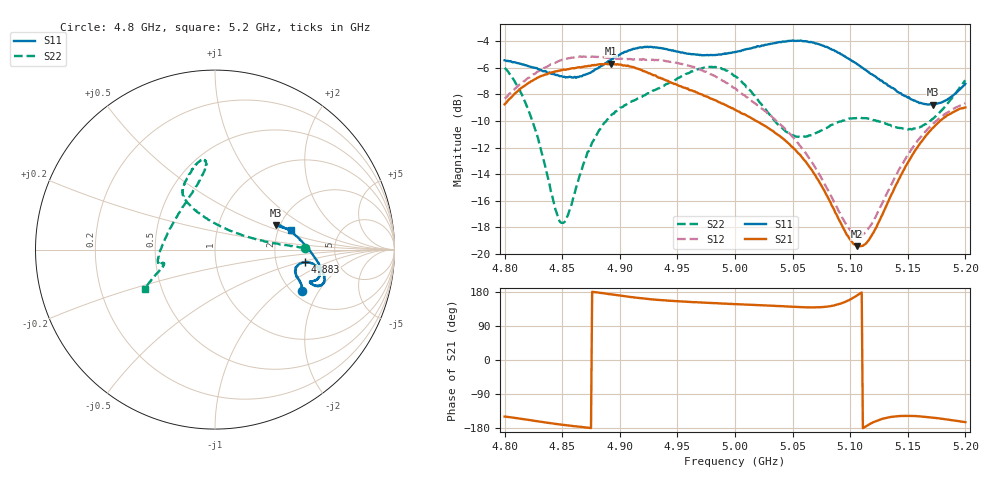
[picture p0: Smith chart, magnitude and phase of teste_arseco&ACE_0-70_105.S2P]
! Network Analyzer HP8722D
! Hewlett-Packard
! Data name: Linha & Wilkinson
! Saver's name: Rodrigo Anjos
! Comments: Teste da utilização de aquisição
! continua pelo VNA HP8722D
! Time and date: 8/5/2025 13:38
!  Frequency  S11  S21  S12  S22
# HZ  S  MA R 50
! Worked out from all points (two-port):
!   401 points, 4.8 GHz to 5.2 GHz, reference 50 ohm
!   highest |S21| = -5.70 dB at 4.892 GHz (marker M1); lowest = -19.4 dB at 5.106 GHz (marker M2)
!   |S21| within 3 dB of the highest: 4.801 GHz to 4.989 GHz (188.5 MHz wide, 3.85 % of centre)
!   lowest |S11| = -8.8 dB at 5.172 GHz (marker M3), VSWR 2.15, Z = 95 + j29.9 ohm
!   |S11| at or under -10 dB: nowhere
!   |S22| runs from -17.7 to -5.9 dB; largest |S21 - S12| = 1.1
!   S11 on the Smith chart (normalised r, x): 4.8 GHz: 2.23, -1.44; 4.883 GHz: 2.94, -0.55; 5.2 GHz: 2.34, +0.63
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4.8e9  0.5351 -25.4  0.3656 -149.2  0.3844 10.2  0.5005 1.3
4.812e9  0.5218 -22.3  0.4123 -154.2  0.4298 8.4  0.4209 2.7
4.823e9  0.5051 -20.5  0.4464 -159.1  0.4659 6.9  0.3264 6.3
4.848e9  0.4661 -16.3  0.4889 -170.0  0.5342 2.9  0.1324 55.6
4.854e9  0.4626 -14.8  0.4946 -172.3  0.5427 2.0  0.1373 81.1
4.867e9  0.4658 -11.0  0.5048 -176.9  0.5512 -0.0  0.2079 111.9
4.883e9  0.5065 -7.9  0.5175 177.0  0.5504 -1.3  0.295 120.0
4.892e9  0.5342 -7.9  0.519 173.7  0.5447 -1.3  0.3298 121.0
4.912e9  0.5922 -10.9  0.5045 165.2  0.5381 -0.8  0.3767 118.4
4.934e9  0.5951 -15.8  0.46 158.3  0.5375 -1.8  0.42 112.3
4.975e9  0.5593 -18.8  0.3919 151.2  0.485 -5.3  0.5046 98.9
5e9  0.5751 -19.6  0.3494 147.5  0.4208 -5.5  0.4672 96.5
5.019e9  0.6032 -19.7  0.3159 145.1  0.3641 -2.7  0.3847 103.7
5.044e9  0.6298 -17.8  0.2663 141.4  0.2932 2.7  0.2889 131.4
5.067e9  0.6251 -13.5  0.206 138.9  0.2211 9.4  0.2809 164.6
5.096e9  0.5508 -3.8  0.1206 154.0  0.1305 34.4  0.3201 -171.3
5.106e9  0.5184 0.7  0.1071 170.5  0.1178 53.3  0.3252 -168.3
5.116e9  0.4829 5.7  0.1126 -170.9  0.1252 73.3  0.3227 -166.4
5.134e9  0.4283 14.3  0.1611 -150.9  0.1764 94.8  0.3059 -165.7
5.155e9  0.378 21.1  0.2398 -147.9  0.2543 101.4  0.2966 -164.1
5.172e9  0.3648 22.0  0.2985 -152.2  0.3094 102.2  0.323 -160.0
5.2e9  0.4368 14.5  0.3558 -163.9  0.3691 102.5  0.4499 -150.8
